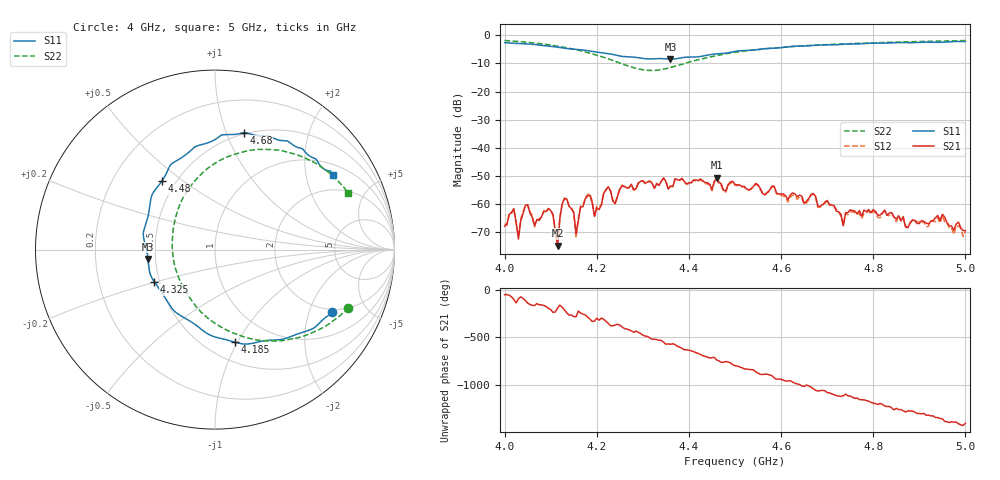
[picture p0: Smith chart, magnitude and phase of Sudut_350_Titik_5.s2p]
# Hz S RI R 50
! CMT, C1220, 16058040, 17.2.0/1
! Date: 15/08/2018 12:24:24
! Data: Format (Calibration Info)
! Freq  S11: Re/Im (F2)  S21: Re/Im (F2)  S12: Re/Im (F2)  S22: Re/Im (F2)
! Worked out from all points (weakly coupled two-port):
!   201 points, 4 GHz to 5 GHz, reference 50 ohm
!   highest |S21| = -50.62 dB at 4.46 GHz (marker M1); lowest = -74.8 dB at 4.115 GHz (marker M2)
!   lowest |S11| = -8.5 dB at 4.36 GHz (marker M3), VSWR 2.21, Z = 22.7 - j2.75 ohm
!   |S11| at or under -10 dB: nowhere
!   |S22| runs from -12.5 to -1.8 dB; largest |S21 - S12| = 0.00016
!   S11 on the Smith chart (normalised r, x): 4 GHz: 1.85, -2.89; 4.185 GHz: 0.68, -0.97; 4.325 GHz: 0.47, -0.20; 4.48 GHz: 0.42, +0.42; 4.68 GHz: 0.49, +1.15; 5 GHz: 1.37, +2.86
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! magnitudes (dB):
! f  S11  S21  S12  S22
! 4 GHz  -2.6  -68.0  -67.1  -1.8
! 4.02 GHz  -2.8  -61.6  -61.9  -2.1
! 4.03 GHz  -2.9  -72.5  -71.3  -2.2
! 4.045 GHz  -3.0  -60.6  -60.3  -2.4
! 4.095 GHz  -3.8  -61.7  -61.6  -3.3
! 4.115 GHz  -4.2  -74.8  -75.0  -3.8
! 4.13 GHz  -4.6  -58.0  -57.9  -4.3
! 4.155 GHz  -5.0  -70.6  -71.9  -5.1
! 4.17 GHz  -5.2  -61.0  -60.7  -5.7
! 4.185 GHz  -5.6  -56.9  -56.4  -6.3
! 4.195 GHz  -5.8  -64.5  -64.0  -6.8
! 4.225 GHz  -6.5  -53.9  -54.0  -8.4
! 4.325 GHz  -8.3  -54.4  -54.4  -12.5
! 4.335 GHz  -8.3  -53.4  -53.3  -12.3
! 4.36 GHz  -8.5  -53.7  -53.6  -11.5
! 4.46 GHz  -6.6  -50.6  -51.0  -7.2
! 4.48 GHz  -6.3  -55.4  -55.7  -6.6
! 4.5 GHz  -5.7  -53.0  -53.4  -6.1
! 4.67 GHz  -3.6  -56.3  -56.5  -3.5
! 4.68 GHz  -3.5  -60.9  -61.3  -3.5
! 4.835 GHz  -2.7  -63.2  -64.1  -2.5
! 5 GHz  -2.2  -69.5  -69.8  -1.9
